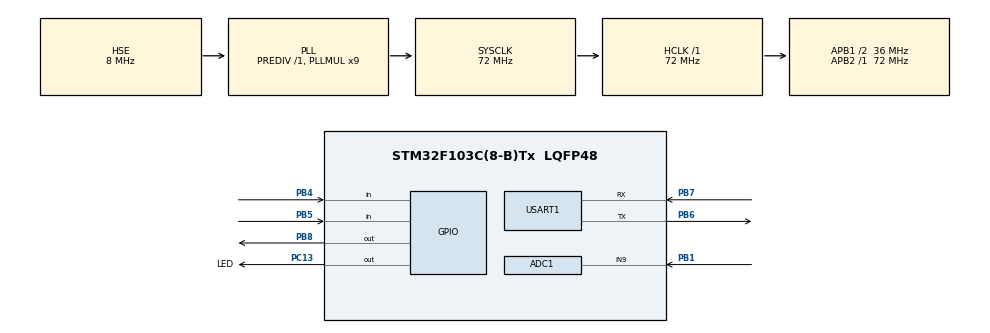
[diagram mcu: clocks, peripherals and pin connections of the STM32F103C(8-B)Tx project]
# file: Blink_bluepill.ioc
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ADC1.Channel-0\#ChannelRegularConversion=ADC_CHANNEL_9
ADC1.ContinuousConvMode=ENABLE
ADC1.NbrOfConversionFlag=1
ADC1.Rank-0\#ChannelRegularConversion=1
ADC1.SamplingTime-0\#ChannelRegularConversion=ADC_SAMPLETIME_1CYCLE_5
ADC1.master=1
Dma.ADC1.0.Direction=DMA_PERIPH_TO_MEMORY
Dma.ADC1.0.Instance=DMA1_Channel1
Dma.ADC1.0.MemDataAlignment=DMA_MDATAALIGN_WORD
Dma.ADC1.0.MemInc=DMA_MINC_ENABLE
Dma.ADC1.0.Mode=DMA_CIRCULAR
Dma.ADC1.0.PeriphDataAlignment=DMA_PDATAALIGN_WORD
Dma.ADC1.0.PeriphInc=DMA_PINC_DISABLE
Dma.ADC1.0.Priority=DMA_PRIORITY_LOW
Dma.Request0=ADC1
FREERTOS.Tasks01=defaultTask,24,128,StartDefaultTask,Default,NULL,Dynamic,NULL,NULL;Blink,8,128,StartBlink,Default,NULL,Dynamic,NULL,NULL;button,9,128,StartButton,Default,NULL,Dynamic,NULL,NULL;Potenciometer,8,128,StartPot,Default,NULL,Dynamic,NULL,NULL
Mcu.Family=STM32F1
Mcu.Name=STM32F103C(8-B)Tx
Mcu.Package=LQFP48
NVIC.ADC1_2_IRQn=true\:5\:0\:false\:false\:true\:true\:true\:true\:true
NVIC.DMA1_Channel1_IRQn=true\:5\:0\:false\:false\:true\:true\:false\:true\:true
NVIC.PriorityGroup=NVIC_PRIORITYGROUP_4
NVIC.USART1_IRQn=true\:5\:0\:false\:false\:true\:true\:true\:true\:true
PA13.Mode=Serial_Wire
PA13.Signal=SYS_JTMS-SWDIO
PA14.Mode=Serial_Wire
PA14.Signal=SYS_JTCK-SWCLK
PB1.Signal=ADCx_IN9
PB4.Signal=GPIO_Input
PB5.Signal=GPIO_Input
PB6.Mode=Asynchronous
PB6.Signal=USART1_TX
PB7.Mode=Asynchronous
PB7.Signal=USART1_RX
PB8.Signal=GPIO_Output
PC13-TAMPER-RTC.GPIO_Label=LED
PC13-TAMPER-RTC.GPIO_ModeDefaultOutputPP=GPIO_MODE_OUTPUT_PP
PC13-TAMPER-RTC.GPIO_PuPd=GPIO_NOPULL
PC13-TAMPER-RTC.GPIO_Speed=GPIO_SPEED_FREQ_HIGH
PC13-TAMPER-RTC.PinState=GPIO_PIN_RESET
PC13-TAMPER-RTC.Signal=GPIO_Output
PD0-OSC_IN.Mode=HSE-External-Oscillator
PD0-OSC_IN.Signal=RCC_OSC_IN
PD1-OSC_OUT.Mode=HSE-External-Oscillator
PD1-OSC_OUT.Signal=RCC_OSC_OUT
ProjectManager.HeapSize=0x200
ProjectManager.StackSize=0x400
ProjectManager.TargetToolchain=Makefile
RCC.ADCPresc=RCC_ADCPCLK2_DIV6
RCC.AHBFreq_Value=72000000
RCC.APB1CLKDivider=RCC_HCLK_DIV2
RCC.APB1Freq_Value=36000000
RCC.APB1TimFreq_Value=72000000
RCC.APB2Freq_Value=72000000
RCC.APB2TimFreq_Value=72000000
RCC.HCLKFreq_Value=72000000
RCC.PLLMUL=RCC_PLL_MUL9
RCC.PLLSourceVirtual=RCC_PLLSOURCE_HSE
RCC.SYSCLKFreq_VALUE=72000000
RCC.SYSCLKSource=RCC_SYSCLKSOURCE_PLLCLK
RCC.USBFreq_Value=72000000
SH.ADCx_IN9.0=ADC1_IN9,IN9
USART1.VirtualMode=VM_ASYNC
VP_FREERTOS_VS_CMSIS_V2.Mode=CMSIS_V2
board=custom

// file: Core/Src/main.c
/* USER CODE BEGIN Header */
/**
  ******************************************************************************
  * @file           : main.c
  * @brief          : Main program body
  ******************************************************************************
  * @attention
  *
  * Copyright (c) 2023 STMicroelectronics.
  * All rights reserved.
  *
  * This software is licensed under terms that can be found in the LICENSE file
  * in the root directory of this software component.
  * If no LICENSE file comes with this software, it is provided AS-IS.
  *
  ******************************************************************************
  */
/* USER CODE END Header */
#include "main.h"
#include "cmsis_os.h"
#include "adc.h"
#include "dma.h"
#include "usart.h"
#include "gpio.h"

/* USER CODE BEGIN Includes */
#include <stdint.h>
/* USER CODE END Includes */

void SystemClock_Config(void);
void MX_FREERTOS_Init(void);

int main(void)
{

  /* MCU Configuration--------------------------------------------------------*/

  /* Reset of all peripherals, Initializes the Flash interface and the Systick. */
  HAL_Init();

  /* Configure the system clock */
  SystemClock_Config();

  /* Initialize all configured peripherals */
  MX_GPIO_Init();
  MX_DMA_Init();
  MX_ADC1_Init();
  HAL_ADC_Start(&hadc1);
  MX_USART1_UART_Init();

  /* Init scheduler */
  osKernelInitialize();  /* Call init function for freertos objects (in freertos.c) */
  MX_FREERTOS_Init();

  /* Start scheduler */
  osKernelStart();

  /* We should never get here as control is now taken by the scheduler */
  /* Infinite loop */
  while (1)
  {

  }
}

void SystemClock_Config(void)
{
  RCC_OscInitTypeDef RCC_OscInitStruct = {0};
  RCC_ClkInitTypeDef RCC_ClkInitStruct = {0};
  RCC_PeriphCLKInitTypeDef PeriphClkInit = {0};

  /** Initializes the RCC Oscillators according to the specified parameters
  * in the RCC_OscInitTypeDef structure.
  */
  RCC_OscInitStruct.OscillatorType = RCC_OSCILLATORTYPE_HSE;
  RCC_OscInitStruct.HSEState = RCC_HSE_ON;
  RCC_OscInitStruct.HSEPredivValue = RCC_HSE_PREDIV_DIV1;
  RCC_OscInitStruct.HSIState = RCC_HSI_ON;
  RCC_OscInitStruct.PLL.PLLState = RCC_PLL_ON;
  RCC_OscInitStruct.PLL.PLLSource = RCC_PLLSOURCE_HSE;
  RCC_OscInitStruct.PLL.PLLMUL = RCC_PLL_MUL9;
  if (HAL_RCC_OscConfig(&RCC_OscInitStruct) != HAL_OK)
  {
    Error_Handler();
  }

  /** Initializes the CPU, AHB and APB buses clocks
  */
  RCC_ClkInitStruct.ClockType = RCC_CLOCKTYPE_HCLK|RCC_CLOCKTYPE_SYSCLK
                              |RCC_CLOCKTYPE_PCLK1|RCC_CLOCKTYPE_PCLK2;
  RCC_ClkInitStruct.SYSCLKSource = RCC_SYSCLKSOURCE_PLLCLK;
  RCC_ClkInitStruct.AHBCLKDivider = RCC_SYSCLK_DIV1;
  RCC_ClkInitStruct.APB1CLKDivider = RCC_HCLK_DIV2;
  RCC_ClkInitStruct.APB2CLKDivider = RCC_HCLK_DIV1;

  if (HAL_RCC_ClockConfig(&RCC_ClkInitStruct, FLASH_LATENCY_2) != HAL_OK)
  {
    Error_Handler();
  }
  PeriphClkInit.PeriphClockSelection = RCC_PERIPHCLK_ADC;
  PeriphClkInit.AdcClockSelection = RCC_ADCPCLK2_DIV6;
  if (HAL_RCCEx_PeriphCLKConfig(&PeriphClkInit) != HAL_OK)
  {
    Error_Handler();
  }
}

void Error_Handler(void)
{
  __disable_irq();
  while (1)
  {
  }
}

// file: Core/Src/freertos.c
/* USER CODE BEGIN Header */
/**
  ******************************************************************************
  * File Name          : freertos.c
  * Description        : Code for freertos applications
  ******************************************************************************
  * @attention
  *
  * Copyright (c) 2023 STMicroelectronics.
  * All rights reserved.
  *
  * This software is licensed under terms that can be found in the LICENSE file
  * in the root directory of this software component.
  * If no LICENSE file comes with this software, it is provided AS-IS.
  *
  ******************************************************************************
  */
/* USER CODE END Header */

#include "FreeRTOS.h"
#include "task.h"
#include "main.h"
#include "cmsis_os.h"
#include "adc.h"
#include "dma.h"
#include "usart.h"
#include "gpio.h"

/* Definitions for defaultTask */
osThreadId_t defaultTaskHandle;
const osThreadAttr_t defaultTask_attributes = {
  .name = "defaultTask",
  .stack_size = 128 * 4,
  .priority = (osPriority_t) osPriorityLow,
};
/* Definitions for Blink */
osThreadId_t BlinkHandle;
const osThreadAttr_t Blink_attributes = {
  .name = "Blink",
  .stack_size = 128 * 4,
  .priority = (osPriority_t) osPriorityLow,
};
/* Definitions for button */
osThreadId_t buttonHandle;
const osThreadAttr_t button_attributes = {
  .name = "button",
  .stack_size = 128 * 4,
  .priority = (osPriority_t) osPriorityLow1,
};
/* Definitions for Potenciometer */
osThreadId_t PotenciometerHandle;
const osThreadAttr_t Potenciometer_attributes = {
  .name = "Potenciometer",
  .stack_size = 128 * 4,
  .priority = (osPriority_t) osPriorityLow1,
};

void StartDefaultTask(void *argument);
void StartBlink(void *argument);
void StartButton(void *argument);
void StartPot(void *argument);

void MX_FREERTOS_Init(void); /* (MISRA C 2004 rule 8.1) */

void MX_FREERTOS_Init(void) {

  /* Create the thread(s) */
  /* creation of defaultTask */
  defaultTaskHandle = osThreadNew(StartDefaultTask, NULL, &defaultTask_attributes);

  /* creation of Blink */
  BlinkHandle = osThreadNew(StartBlink, NULL, &Blink_attributes);

  /* creation of button */
  buttonHandle = osThreadNew(StartButton, NULL, &button_attributes);

  /* creation of Potenciometer */
  PotenciometerHandle = osThreadNew(StartPot, NULL, &Potenciometer_attributes);

}

void StartDefaultTask(void *argument)
{
  /* USER CODE BEGIN StartDefaultTask */
  char val;
  char val2;
  /* Infinite loop */
  for(;;)
  {
		HAL_UART_Transmit(&huart1,&val,1,100);
		HAL_UART_Transmit(&huart1,&val2,1,100);
  }
  /* USER CODE END StartDefaultTask */
}

void StartBlink(void *argument)
{
  /* USER CODE BEGIN StartBlink */
  /* Infinite loop */
  for(;;)
  {
    HAL_GPIO_WritePin(GPIOC,GPIO_PIN_13, 0);
    HAL_Delay(1000);
    HAL_GPIO_WritePin(GPIOC,GPIO_PIN_13, 1);
    HAL_Delay(1000);
  }
  /* USER CODE END StartBlink */
}

void StartButton(void *argument)
{
  /* USER CODE BEGIN StartButton */
  int buttonState = 0;           // Estado actual del botón (0 = no presionado, 1 = presionado)
  int buttonState2 = 0;
  /* Infinite loop */
  for(;;)
  {

	int buttonStateCurrent = HAL_GPIO_ReadPin(GPIOB, GPIO_PIN_4);
	int buttonStateCurrent2 = HAL_GPIO_ReadPin(GPIOB,GPIO_PIN_5);
	  // Si el botón ha sido presionado y no estaba presionado previamente
	if ((buttonStateCurrent == 1 && buttonState == 0) || (buttonStateCurrent2 == 1 && buttonState2 == 0)) {
	    // Cambiar el estado del botón a 1
	    buttonState = 1;
	    buttonState2 = 1;
	    HAL_GPIO_WritePin(GPIOB,GPIO_PIN_8, 1);
	}
	    // Si el botón está siendo liberado y estaba presionado previamente
	else if ((buttonStateCurrent == 0 && buttonState == 1) || ((buttonStateCurrent2 == 0 && buttonState2 == 1))) {
	    // Cambiar el estado del botón a 0
	    buttonState = 0;
	    buttonState2 = 0;
	    HAL_GPIO_WritePin(GPIOB,GPIO_PIN_8, 0);
	}
  }
  /* USER CODE END StartButton */
}

void StartPot(void *argument)
{
  /* USER CODE BEGIN StartPot */
  int readValue = 0;
  /* Infinite loop */
  for(;;)
  {
		HAL_ADC_PollForConversion(&hadc1,1000);
		readValue = HAL_ADC_GetValue(&hadc1);
  }
  /* USER CODE END StartPot */
}
